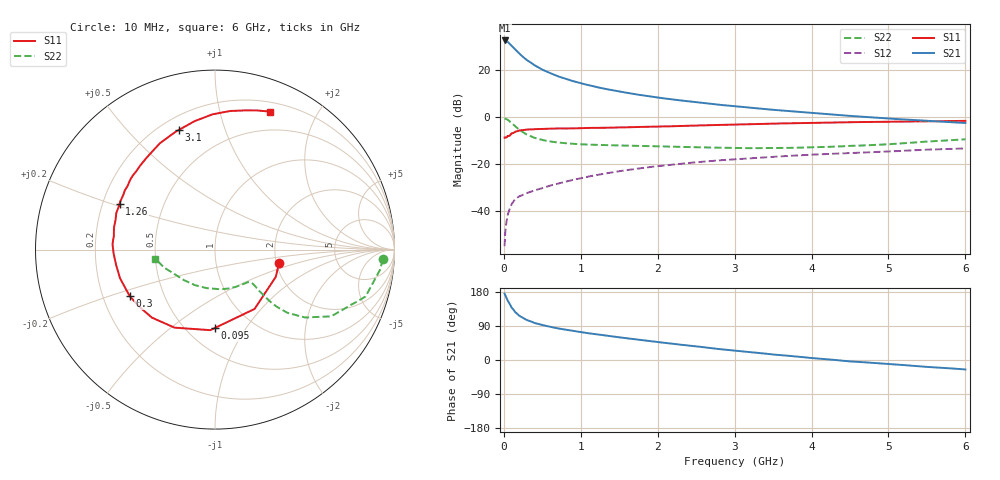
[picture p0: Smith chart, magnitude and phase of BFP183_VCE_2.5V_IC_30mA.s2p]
! Infineon Technologies  Discrete & RF Semiconductors
! BFP183
! VCE = 2.5 V,  IC =  30 mA
! Common Emitter S-Parameters:  Jan 2016
# GHz  S  MA  R  50
!  f  S11  S21  S12  S22
! GHz  MAG  ANG  MAG  ANG  MAG  ANG  MAG  ANG
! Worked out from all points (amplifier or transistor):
!   210 points, 10 MHz to 6 GHz, reference 50 ohm
!   highest |S21| = 32.5 dB at 10 MHz (marker M1)
!   |S21| within 3 dB of that: start of sweep to 123.5 MHz
!   unconditionally stable (mu >= 1): 578.3 MHz to 5.797 GHz
!   at 185 MHz: K = 0.51, MSG = 30.8 dB, |S12| = -34.1 dB
!   at 1.52 GHz: K = 1.20, MAG = 14.1 dB, |S12| = -22.9 dB
!   at 6 GHz: K = 0.98, MSG = 5.4 dB, |S12| = -13.4 dB
!   S11 on the Smith chart (normalised r, x): 10 MHz: 2.07, -0.36; 95 MHz: 0.68, -0.73; 300 MHz: 0.31, -0.23; 1.26 GHz: 0.27, +0.21; 3.1 GHz: 0.27, +0.71; 6 GHz: 0.29, +1.44
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0.01  0.3648 -12.1  42.33 175.1  0.0018 73.3  0.9373 -3.3
0.02  0.3711 -24.2  42.18 170.5  0.0038 87.2  0.9256 -7.1
0.05  0.3974 -56.3  39.73 156.7  0.0083 73.4  0.8787 -17.3
0.095  0.437 -90.2  33.45 140.8  0.0134 61.6  0.7576 -28.5
0.1  0.4496 -93.3  32.95 138.7  0.014 60.8  0.7462 -29.9
0.15  0.4897 -117.4  26.99 125.8  0.0181 54.7  0.6268 -37.1
0.2  0.5168 -132.8  22.36 116.9  0.0206 51.7  0.5358 -41.1
0.26  0.5311 -145.1  18.28 109.4  0.0225 51.0  0.4609 -42.9
0.3  0.5413 -151.6  16.18 105.4  0.0242 50.6  0.4221 -43.3
0.4  0.5529 -163.3  12.55 97.6  0.0275 52.1  0.3603 -43.2
0.5  0.5578 -171.4  10.14 92.1  0.0308 52.8  0.3243 -42.8
0.6  0.5656 -178.0  8.592 87.4  0.0348 54.8  0.3022 -42.3
0.7  0.5718 176.9  7.347 83.5  0.0384 56.4  0.2873 -42.1
0.8  0.5688 172.2  6.49 80.0  0.042 56.9  0.2772 -42.3
1.02  0.5796 162.7  5.112 73.0  0.0507 57.8  0.2627 -43.7
1.26  0.5896 154.4  4.141 66.4  0.0606 57.4  0.2543 -46.5
1.68  0.6104 141.1  3.1 55.2  0.0775 55.4  0.2449 -53.4
2.02  0.6271 131.6  2.562 47.0  0.0911 52.7  0.2384 -60.4
3.1  0.6968 106.6  1.632 22.9  0.1297 43.0  0.2185 -90.0
4.1  0.7576 89.5  1.188 3.6  0.1609 33.7  0.2291 -123.0
5.1  0.7958 77.0  0.907 -12.0  0.1884 25.6  0.27 -151.6
6  0.8279 68.2  0.746 -24.9  0.2148 16.9  0.3361 -171.2
